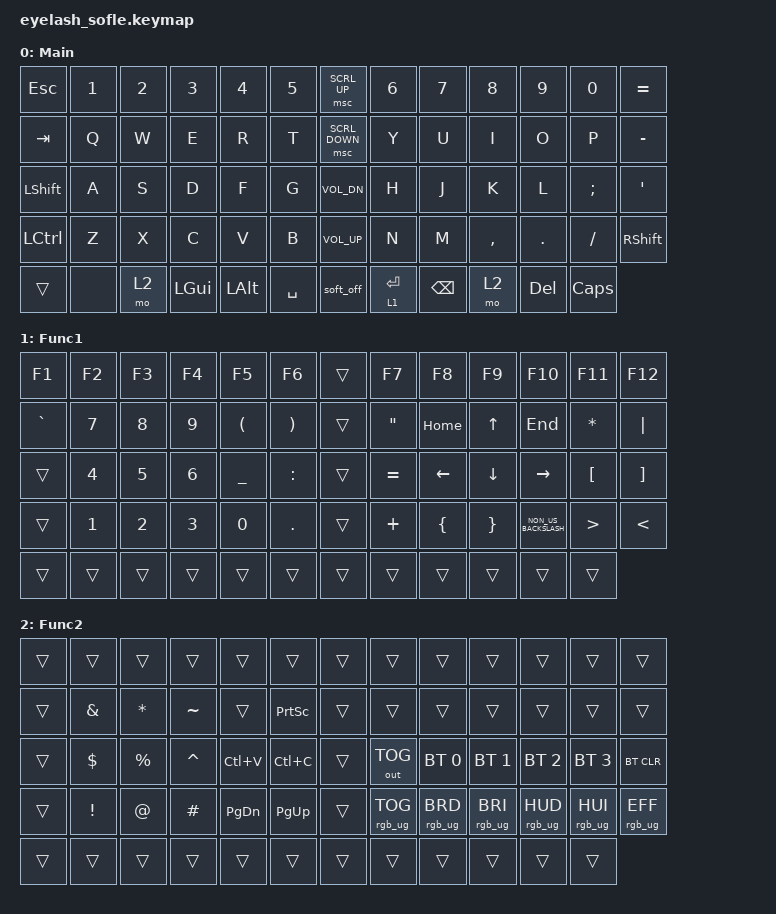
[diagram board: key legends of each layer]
#define ZMK_POINTING_DEFAULT_MOVE_VAL 1200  // 600
#define ZMK_POINTING_DEFAULT_SCRL_VAL 25   // 10

#include <input/processors.dtsi>
#include <zephyr/dt-bindings/input/input-event-codes.h>
#include <behaviors.dtsi>
#include <dt-bindings/zmk/bt.h>
#include <dt-bindings/zmk/keys.h>
#include <dt-bindings/zmk/outputs.h>
#include <dt-bindings/zmk/pointing.h>
#include <dt-bindings/zmk/rgb.h>

&mmv_input_listener { input-processors = <&zip_xy_scaler 2 1>; };

&msc_input_listener { input-processors = <&zip_scroll_scaler 2 1>; };

&msc {
    acceleration-exponent = <1>;      // 0
    time-to-max-speed-ms = <100>;       // 300
    delay-ms = <0>;                   // 0
};

&mmv {
    time-to-max-speed-ms = <500>;
    acceleration-exponent = <1>;
    trigger-period-ms = <16>;
};

&soft_off { hold-time-ms = <2000>; };

/ {
    scroll_encoder: scroll_encoder {
        compatible = "zmk,behavior-sensor-rotate";
        #sensor-binding-cells = <0>;
        bindings = <&msc SCRL_DOWN>, <&msc SCRL_UP>;

        tap-ms = <100>;
    };

    behaviors {
    };

    combos {
        compatible = "zmk,combos";

        softoff {
            bindings = <&soft_off>;
            key-positions = <14 28 40>;
        };
    };

    macros {
        SHIFT_MCLK: SHIFT_MCLK {
            compatible = "zmk,behavior-macro";
            #binding-cells = <0>;
            bindings =
                <&macro_press>,
                <&kp LEFT_SHIFT>,
                <&macro_press>,
                <&mkp MB3>,
                <&macro_pause_for_release>,
                <&macro_release>,
                <&kp LEFT_SHIFT &mkp MB3>;

            label = "SHIFT_MCLK";
        };
    };

    keymap {
        compatible = "zmk,keymap";

        Main {
            bindings = <
&kp ESC    &kp N1  &kp N2  &kp N3    &kp N4    &kp N5       &msc SCRL_UP    &kp N6       &kp N7    &kp N8     &kp N9   &kp N0    &kp EQUAL
&kp TAB    &kp Q   &kp W   &kp E     &kp R     &kp T        &msc SCRL_DOWN  &kp Y        &kp U     &kp I      &kp O    &kp P     &kp MINUS
&kp LSHFT  &kp A   &kp S   &kp D     &kp F     &kp G        &kp C_VOL_DN    &kp H        &kp J     &kp K      &kp L    &kp SEMI  &kp APOS
&kp LCTRL  &kp Z   &kp X   &kp C     &kp V     &kp B        &kp C_VOL_UP    &kp N        &kp M     &kp COMMA  &kp DOT  &kp FSLH  &kp RSHFT
&trans     &none   &mo 2   &kp LGUI  &kp LALT  &kp SPACE    &soft_off       &lt 1 ENTER  &kp BSPC  &mo 2      &kp DEL  &kp CAPS
            >;

            display-name = "Main";
        };

        Func1 {
            bindings = <
&kp F1     &kp F2  &kp F3  &kp F4  &kp F5                &kp F6                   &trans  &kp F7             &kp F8          &kp F9           &kp F10               &kp F11           &kp F12
&kp GRAVE  &kp N7  &kp N8  &kp N9  &kp LEFT_PARENTHESIS  &kp RIGHT_PARENTHESIS    &trans  &kp DOUBLE_QUOTES  &kp HOME        &kp UP           &kp END               &kp ASTERISK      &kp PIPE
&trans     &kp N4  &kp N5  &kp N6  &kp UNDERSCORE        &kp COLON                &trans  &kp EQUAL          &kp LEFT        &kp DOWN         &kp RIGHT             &kp LEFT_BRACKET  &kp RIGHT_BRACKET
&trans     &kp N1  &kp N2  &kp N3  &kp N0                &kp PERIOD               &trans  &kp PLUS           &kp LEFT_BRACE  &kp RIGHT_BRACE  &kp NON_US_BACKSLASH  &kp GREATER_THAN  &kp LESS_THAN
&trans     &trans  &trans  &trans  &trans                &trans                   &trans  &trans             &trans          &trans           &trans                &trans
            >;

            display-name = "Func1";
        };

        Func2 {
            bindings = <
&trans  &trans           &trans        &trans     &trans         &trans             &trans  &trans           &trans           &trans           &trans           &trans           &trans
&trans  &kp AMPERSAND    &kp ASTERISK  &kp TILDE  &trans         &kp PRINTSCREEN    &trans  &trans           &trans           &trans           &trans           &trans           &trans
&trans  &kp DOLLAR       &kp PERCENT   &kp CARET  &kp LC(V)      &kp LC(C)          &trans  &out OUT_TOG     &bt BT_SEL 0     &bt BT_SEL 1     &bt BT_SEL 2     &bt BT_SEL 3     &bt BT_CLR
&trans  &kp EXCLAMATION  &kp AT_SIGN   &kp HASH   &kp PAGE_DOWN  &kp PAGE_UP        &trans  &rgb_ug RGB_TOG  &rgb_ug RGB_BRD  &rgb_ug RGB_BRI  &rgb_ug RGB_HUD  &rgb_ug RGB_HUI  &rgb_ug RGB_EFF
&trans  &trans           &trans        &trans     &trans         &trans             &trans  &trans           &trans           &trans           &trans           &trans
            >;

            display-name = "Func2";
        };
    };
};
